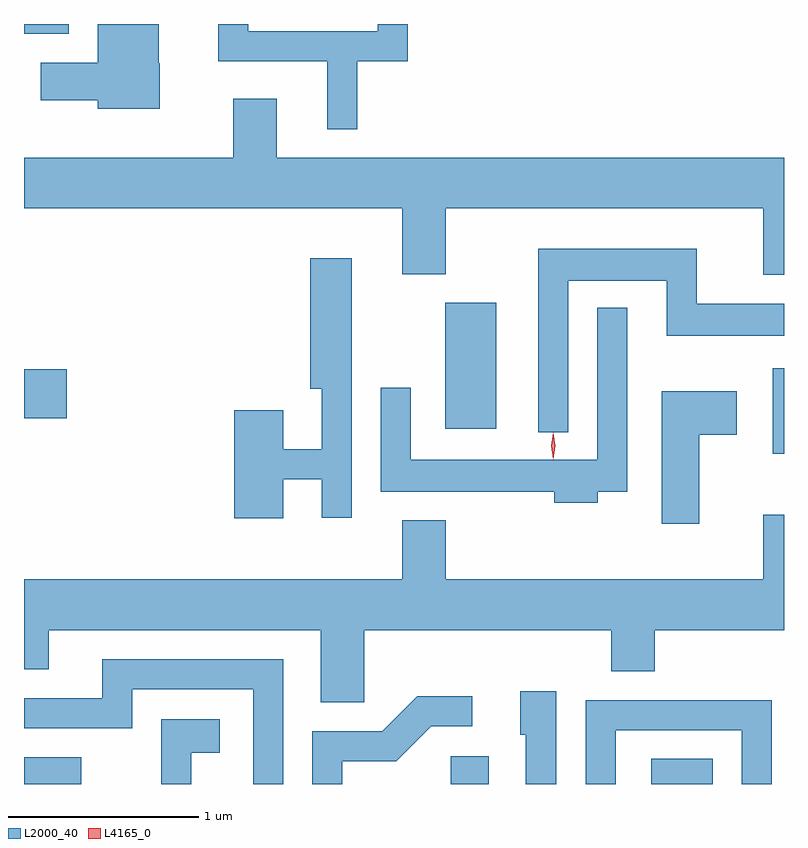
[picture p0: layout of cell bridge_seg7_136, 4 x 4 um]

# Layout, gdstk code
import gdstk
lib = gdstk.Library(unit=1e-6, precision=1e-09)
def R(c, l, rs):  # rectangles x0, y0, x1, y1
    for r in rs: c.add(gdstk.rectangle(r[:2], r[2:], *l))
def P(c, l, *ps):  # polygons
    for p in ps: c.add(gdstk.Polygon(p, *l))
L2000_40 = (2000, 40)
L4165_0 = (4165, 0)

bridge_seg7_136 = lib.new_cell('bridge_seg7_136')
R(bridge_seg7_136, L2000_40, [(1467.719,1733.487,1468.019,1733.629), (1469.966,1733.487,1470.164,1733.634), (1471.021,1733.487,1471.344,1733.619), (1471.661,1735.226,1471.719,1735.674), (1469.936,1735.356,1470.204,1736.019), (1467.719,1735.411,1467.944,1735.669), (1467.719,1737.436,1467.954,1737.487)])
P(bridge_seg7_136, L2000_40, [(1469.474,1737.291),(1469.739,1737.291),(1469.739,1737.487),(1469.581,1737.487),(1469.581,1737.449),(1468.899,1737.449),(1468.899,1737.487),(1468.741,1737.487),(1468.741,1737.291),(1469.316,1737.291),(1469.316,1736.933),(1469.474,1736.933)],
  [(1468.434,1737.28),(1468.429,1737.28),(1468.429,1737.487),(1468.106,1737.487),(1468.106,1737.284),(1467.806,1737.284),(1467.806,1737.086),(1468.106,1737.086),(1468.106,1737.041),(1468.434,1737.041)],
  [(1471.719,1736.784),(1469.049,1736.784),(1469.049,1737.094),(1468.821,1737.094),(1468.821,1736.784),(1467.719,1736.784),(1467.719,1736.516),(1469.711,1736.516),(1469.711,1736.171),(1469.939,1736.171),(1469.939,1736.516),(1471.611,1736.516),(1471.611,1736.166),(1471.719,1736.166)],
  [(1470.584,1736.136),(1471.101,1736.136),(1471.101,1735.846),(1471.719,1735.846),(1471.719,1736.014),(1471.259,1736.014),(1471.259,1736.304),(1470.426,1736.304),(1470.426,1735.338),(1470.584,1735.338)],
  [(1469.084,1735.091),(1469.286,1735.091),(1469.286,1734.888),(1469.444,1734.888),(1469.444,1736.254),(1469.226,1736.254),(1469.226,1735.566),(1469.286,1735.566),(1469.286,1735.249),(1469.084,1735.249),(1469.084,1735.454),(1468.826,1735.454),(1468.826,1734.886),(1469.084,1734.886)],
  [(1470.739,1735.026),(1470.894,1735.026),(1470.894,1735.993),(1470.736,1735.993),(1470.736,1735.194),(1469.754,1735.194),(1469.754,1735.573),(1469.596,1735.573),(1469.596,1735.026),(1470.511,1735.026),(1470.511,1734.966),(1470.739,1734.966)],
  [(1471.274,1735.326),(1471.469,1735.326),(1471.469,1735.554),(1471.076,1735.554),(1471.076,1734.856),(1471.274,1734.856)],
  [(1469.509,1734.296),(1470.811,1734.296),(1470.811,1734.081),(1471.039,1734.081),(1471.039,1734.296),(1471.719,1734.296),(1471.719,1734.904),(1471.611,1734.904),(1471.611,1734.564),(1469.939,1734.564),(1469.939,1734.874),(1469.711,1734.874),(1469.711,1734.564),(1467.719,1734.564),(1467.719,1734.091),(1467.849,1734.091),(1467.849,1734.296),(1469.281,1734.296),(1469.281,1733.916),(1469.509,1733.916)],
  [(1469.084,1734.144),(1468.131,1734.144),(1468.131,1733.939),(1467.719,1733.939),(1467.719,1733.781),(1468.289,1733.781),(1468.289,1733.986),(1468.926,1733.986),(1468.926,1733.487),(1469.084,1733.487)],
  [(1470.519,1733.974),(1470.331,1733.974),(1470.331,1733.746),(1470.361,1733.746),(1470.361,1733.487),(1470.519,1733.487)],
  [(1469.394,1733.606),(1469.677,1733.606),(1469.862,1733.791),(1470.078,1733.791),(1470.078,1733.949),(1469.789,1733.949),(1469.604,1733.764),(1469.236,1733.764),(1469.236,1733.487),(1469.394,1733.487)],
  [(1470.834,1733.771),(1471.496,1733.771),(1471.496,1733.487),(1471.654,1733.487),(1471.654,1733.929),(1470.676,1733.929),(1470.676,1733.487),(1470.834,1733.487)],
  [(1468.599,1733.651),(1468.749,1733.651),(1468.749,1733.829),(1468.441,1733.829),(1468.441,1733.487),(1468.599,1733.487)])
P(bridge_seg7_136, L4165_0, [(1470.504,1735.197),(1470.495,1735.266),(1470.504,1735.336),(1470.505,1735.336),(1470.505,1735.336),(1470.515,1735.266),(1470.505,1735.197),(1470.505,1735.197)])

lib.write_gds('bridge_seg7_136.gds')
